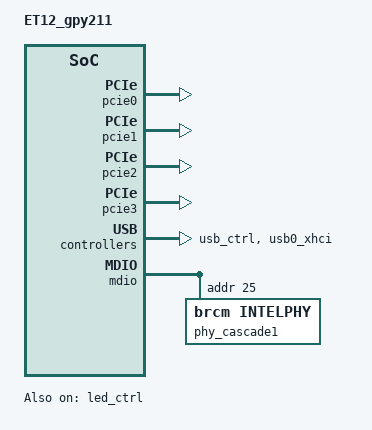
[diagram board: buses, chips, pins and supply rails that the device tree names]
#include "4912.dtsi"

/ {
	model="ET12_gpy211";

	memory_controller {
		memcfg = <(BP_DDR_TYPE_DDR4       | \
			BP_DDR_SPEED_1333_19_19_19    | \
			BP_DDR_TOTAL_SIZE_1024MB      | \
			BP_DDR_DEVICE_WIDTH_16        | \
			BP_DDR_TOTAL_WIDTH_32BIT      | \
			BP_DDR_TEMP_EXTENDED_ASR      | \
			BP_DDR_SSC_CONFIG_1)>;
	};
/*
    buttons: buttons {
        compatible = "brcm,buttons";
        reset_button {
            ext_irq = <&bca_extintr 19 BCA_GPIO_ACTIVE_LOW (BCA_EXTINTR_TYPE_LOW_LEVEL | BCA_EXTINTR_TYPE_SENSE_EDGE)>;
            press {
                    print = "Button Press -- Hold for 5s to do restore to default";
            };
            hold {
                    rst_to_dflt = <5>;
            };
            release {
                    reset = <0>;
            };
        };
        ses_button {
            ext_irq = <&bca_extintr 15 BCA_GPIO_ACTIVE_LOW (BCA_EXTINTR_TYPE_LOW_LEVEL | BCA_EXTINTR_TYPE_SENSE_EDGE)>;
            release {
                    ses_short_period = <0>;
                    ses_long_period = <3>;
            };
        };
    };
*/
};

&nand {
	write-protect = <1>;
};

&pcie0 {
	status = "okay";
};
&pcie1 {
	status = "okay";
};
&pcie2 {
	status = "okay";
};
&pcie3 {
	status = "okay";
};

&usb_ctrl {
	pinctrl-names = "default";
	pinctrl-0 = <&usb0_pwr_pins &usb1_pwr_pins>;
	status = "okay";
	pwron-bias-pull-up;
	xhci-enable;
};

&usb0_xhci {
	status = "okay";
};

&mdio {
	phy1:1 {
		status = "okay";
	};

	phy2:2 {
		status = "okay";
	};

	phy_cascade0:9 {
		status = "okay";
	};

	phy_serdes0:6 {
		phy-handle = <&phy_cascade0>;
		status = "okay";
	};

	phy_cascade1:10 {
		compatible = "brcm,intelphy";
		phy-type = "GPY211";
		reg = <25>;
		status = "okay";
		phy-external;
	};

	/* serdes1 (SGMII1) : port map ID 6, PHY ADDR 7 */
	phy_serdes1:7 {
		phy-handle = <&phy_cascade1>;
		status = "okay";
	};
};

&switch0 {
	ports {
		port0@0 {
			status = "okay";
			label = "eth2";
		};

		port1@1 {
			status = "okay";
			label = "eth1";
		};

		port5@5 {
			status = "okay";
			label = "eth0";
		};

		port6@6 {
			status = "okay";
			label = "eth3";
		};
	};
};

&led_ctrl {
    status="okay";
	bt_reset:gpio_3_pin_3 {
		label = "led_gpio_3";
		compatible = "brcm,gpio-led";
		software_led;
		pin = <3>;
		active_high;
		init_low;
	};

//	bt_disable:gpio_5_pin_5 {
//		label = "5";
//		compatible = "brcm,gpio-led";
//		software_led;
//		pin = <5>;
//		active_high;
//		init_low;
//	};

	model:gpio_52_pin_52 {
	label = "led_gpio_52";
		compatible = "brcm,gpio-led";
		software_led;
		pin = <52>;
		init_high;
	};

/* ===== CLED =====*/
    /* LED_1A_R */
	led1: sw_parallel_led_1 {
		pinctrl-0 = <&a_per_led_01_pin_1>;
		active_high;
		status="okay";
		brightness = <0>;
	};

    /* LED_1A_R */
	led2: sw_parallel_led_2 {
		pinctrl-0 = <&a_per_led_02_pin_2>;
		active_high;
		status="okay";
		brightness = <0>;
	};

	led13: sw_parallel_led_13 {
		pinctrl-0 = <&a_per_led_13_pin_13>;
		active_high;
		status="okay";
		brightness = <0>;
	};

	led14: sw_parallel_led_14 {
		pinctrl-0 = <&b_per_led_14_pin_40>;
		active_high;
		status="okay";
		brightness = <0>;
	};

	led15: sw_parallel_led_15 {
		pinctrl-0 = <&b_per_led_15_pin_41>;
		active_high;
		status="okay";
		brightness = <0>;
	};

	led16: sw_parallel_led_16 {
		pinctrl-0 = <&b_per_led_16_pin_42>;
		active_high;
		status="okay";
		brightness = <0>;
	};

	led17: sw_parallel_led_17 {
		pinctrl-0 = <&b_per_led_17_pin_43>;
		active_high;
		status="okay";
		brightness = <0>;
	};

	led18: sw_parallel_led_18 {
		pinctrl-0 = <&b_per_led_18_pin_44>;
		active_high;
		status="okay";
		brightness = <0>;
	};

	led21: sw_parallel_led_21 {
		pinctrl-0 = <&b_per_led_21_pin_47>;
		active_high;
		status="okay";
		brightness = <0>;
	};

	led22: sw_parallel_led_22 {
		pinctrl-0 = <&b_per_led_22_pin_48>;
		active_low;
		status="okay";
		brightness = <0>;
	};

	led23: sw_parallel_led_23 {
		pinctrl-0 = <&b_per_led_23_pin_49>;
		active_low;
		status="okay";
		brightness = <0>;
	};

	led24: sw_parallel_led_24 {
		pinctrl-0 = <&b_per_led_24_pin_50>;
		active_low;
		status="okay";
		brightness = <0>;
	};
};
